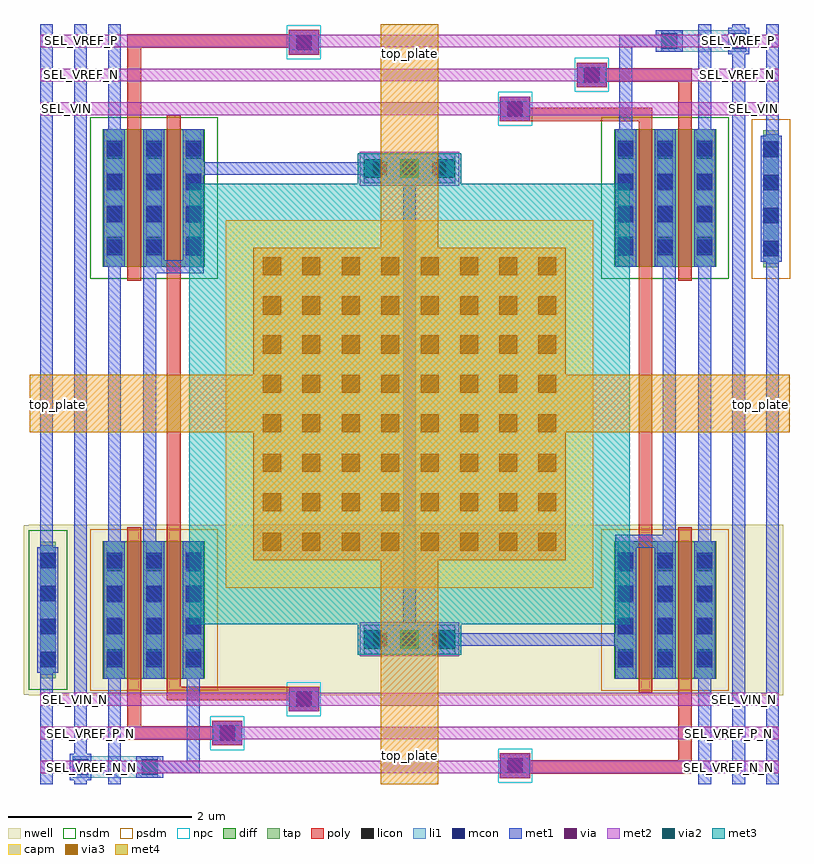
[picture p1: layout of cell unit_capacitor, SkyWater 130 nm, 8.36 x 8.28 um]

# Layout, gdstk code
from math import pi, radians
import gdstk
lib = gdstk.Library(unit=1e-6, precision=1e-09)
def R(c, l, rs):  # rectangles x0, y0, x1, y1
    for r in rs: c.add(gdstk.rectangle(r[:2], r[2:], *l))
def A(c, l, x, y, w, h, nx, ny, dx, dy):  # array of equal rectangles
    R(c, l, [(x+i*dx, y+j*dy, x+i*dx+w, y+j*dy+h) for i in range(nx) for j in range(ny)])
nwell = (64, 20)
diff = (65, 20)
tap = (65, 44)
poly = (66, 20)
licon = (66, 44)
li1 = (67, 20)
mcon = (67, 44)
met1 = (68, 20)
via = (68, 44)
met2 = (69, 20)
via2 = (69, 44)
met3 = (70, 20)
via3 = (70, 44)
met4 = (71, 20)
capm = (89, 44)
nsdm = (93, 44)
psdm = (94, 20)
npc = (95, 20)

cap_mim_m3__base_cdns_78 = lib.new_cell('cap_mim_m3__base_CDNS_784651134383')
R(cap_mim_m3__base_cdns_78, met3, [(-0.4,-0.4,4.4,4.4)])
A(cap_mim_m3__base_cdns_78, via3, 0.4, 0.4, 0.2, 0.2, 6, 6, 0.43, 0.43)
A(cap_mim_m3__base_cdns_78, via3, 2.975, 0.4, 0.2, 0.2, 1, 6, 0, 0.43)
A(cap_mim_m3__base_cdns_78, via3, 3.4, 0.4, 0.2, 0.2, 1, 6, 0, 0.43)
A(cap_mim_m3__base_cdns_78, via3, 0.4, 2.975, 0.2, 0.2, 6, 2, 0.43, 0.425)
R(cap_mim_m3__base_cdns_78, via3, [(2.975,2.975,3.175,3.175), (3.4,2.975,3.6,3.175), (2.975,3.4,3.175,3.6), (3.4,3.4,3.6,3.6)])
R(cap_mim_m3__base_cdns_78, met4, [(0.3,0.3,3.7,3.7)])
R(cap_mim_m3__base_cdns_78, capm, [(0,0,4,4)])

pfet_01v8_cdns_784651134 = lib.new_cell('pfet_01v8_CDNS_784651134384')
R(pfet_01v8_cdns_784651134, nwell, [(-0.445,-0.18,0.385,1.68)])
R(pfet_01v8_cdns_784651134, diff, [(-0.265,0,0,1.5), (0,0,0.15,1.5), (0.15,0,0.205,1.5)])
R(pfet_01v8_cdns_784651134, poly, [(0,-0.15,0.15,-0.095), (0,-0.095,0.15,0), (0,0,0.15,1.5), (0,1.5,0.15,1.595), (0,1.595,0.15,1.65)])
A(pfet_01v8_cdns_784651134, licon, -0.225, 0.155, 0.17, 0.17, 1, 4, 0, 0.34)
R(pfet_01v8_cdns_784651134, li1, [(-0.225,0,-0.055,1.5)])
A(pfet_01v8_cdns_784651134, mcon, -0.225, 0.125, 0.17, 0.17, 1, 4, 0, 0.36)
R(pfet_01v8_cdns_784651134, met1, [(-0.255,0,-0.025,1.5)])
R(pfet_01v8_cdns_784651134, psdm, [(-0.405,-0.13,0.215,1.63)])

nfet_01v8_cdns_784651134 = lib.new_cell('nfet_01v8_CDNS_784651134385')
R(nfet_01v8_cdns_784651134, diff, [(-0.055,0,0,1.5), (0,0,0.15,1.5), (0.15,0,0.415,1.5)])
R(nfet_01v8_cdns_784651134, poly, [(0,-0.15,0.15,-0.095), (0,-0.095,0.15,0), (0,0,0.15,1.5), (0,1.5,0.15,1.595), (0,1.595,0.15,1.65)])
A(nfet_01v8_cdns_784651134, licon, 0.205, 0.155, 0.17, 0.17, 1, 4, 0, 0.34)
R(nfet_01v8_cdns_784651134, li1, [(0.205,0,0.375,1.5)])
A(nfet_01v8_cdns_784651134, mcon, 0.205, 0.125, 0.17, 0.17, 1, 4, 0, 0.36)
R(nfet_01v8_cdns_784651134, met1, [(0.175,0,0.405,1.5)])
R(nfet_01v8_cdns_784651134, nsdm, [(-0.065,-0.13,0.555,1.63)])

c_pfet_01v8_cdns_784651134 = lib.new_cell('pfet_01v8_CDNS_784651134386')
R(c_pfet_01v8_cdns_784651134, nwell, [(-0.405,-0.18,0.595,1.68)])
R(c_pfet_01v8_cdns_784651134, diff, [(-0.225,0,0,1.5), (0,0,0.15,1.5), (0.15,0,0.415,1.5)])
R(c_pfet_01v8_cdns_784651134, poly, [(0,-0.15,0.15,-0.095), (0,-0.095,0.15,0), (0,0,0.15,1.5), (0,1.5,0.15,1.595), (0,1.595,0.15,1.65)])
A(c_pfet_01v8_cdns_784651134, licon, -0.225, 0.155, 0.17, 0.17, 1, 4, 0, 0.34)
A(c_pfet_01v8_cdns_784651134, licon, 0.205, 0.155, 0.17, 0.17, 1, 4, 0, 0.34)
R(c_pfet_01v8_cdns_784651134, li1, [(-0.225,0,-0.055,1.5), (0.205,0,0.375,1.5)])
A(c_pfet_01v8_cdns_784651134, mcon, -0.225, 0.125, 0.17, 0.17, 1, 4, 0, 0.36)
A(c_pfet_01v8_cdns_784651134, mcon, 0.205, 0.125, 0.17, 0.17, 1, 4, 0, 0.36)
R(c_pfet_01v8_cdns_784651134, met1, [(-0.255,0,-0.025,1.5), (0.175,0,0.405,1.5)])
R(c_pfet_01v8_cdns_784651134, psdm, [(-0.235,-0.13,0.555,1.63)])

c_nfet_01v8_cdns_784651134 = lib.new_cell('nfet_01v8_CDNS_784651134387')
R(c_nfet_01v8_cdns_784651134, diff, [(-0.265,0,0,1.5), (0,0,0.15,1.5), (0.15,0,0.375,1.5)])
R(c_nfet_01v8_cdns_784651134, poly, [(0,-0.15,0.15,-0.095), (0,-0.095,0.15,0), (0,0,0.15,1.5), (0,1.5,0.15,1.595), (0,1.595,0.15,1.65)])
A(c_nfet_01v8_cdns_784651134, licon, -0.225, 0.155, 0.17, 0.17, 1, 4, 0, 0.34)
A(c_nfet_01v8_cdns_784651134, licon, 0.205, 0.155, 0.17, 0.17, 1, 4, 0, 0.34)
R(c_nfet_01v8_cdns_784651134, li1, [(-0.225,0,-0.055,1.5), (0.205,0,0.375,1.5)])
A(c_nfet_01v8_cdns_784651134, mcon, -0.225, 0.125, 0.17, 0.17, 1, 4, 0, 0.36)
A(c_nfet_01v8_cdns_784651134, mcon, 0.205, 0.125, 0.17, 0.17, 1, 4, 0, 0.36)
R(c_nfet_01v8_cdns_784651134, met1, [(-0.255,0,-0.025,1.5), (0.175,0,0.405,1.5)])
R(c_nfet_01v8_cdns_784651134, nsdm, [(-0.405,-0.13,0.385,1.63)])

polyconn_cdns_7846511343 = lib.new_cell('polyConn_CDNS_784651134380')
R(polyconn_cdns_7846511343, poly, [(-0.135,-0.165,0.135,0.165)])
R(polyconn_cdns_7846511343, licon, [(-0.085,-0.085,0.085,0.085)])
R(polyconn_cdns_7846511343, li1, [(-0.085,-0.165,0.085,0.165)])
R(polyconn_cdns_7846511343, mcon, [(-0.085,-0.085,0.085,0.085)])
R(polyconn_cdns_7846511343, met1, [(-0.13,-0.16,0.13,0.16)])
R(polyconn_cdns_7846511343, npc, [(-0.185,-0.185,0.185,0.185)])

m1m2_c_cdns_784651134388 = lib.new_cell('M1M2_C_CDNS_784651134388')
R(m1m2_c_cdns_784651134388, met1, [(-0.13,-0.16,0.13,0.16)])
R(m1m2_c_cdns_784651134388, via, [(-0.075,-0.075,0.075,0.075)])
R(m1m2_c_cdns_784651134388, met2, [(-0.13,-0.16,0.13,0.16)])

l1m1_c_cdns_784651134389 = lib.new_cell('L1M1_C_CDNS_784651134389')
R(l1m1_c_cdns_784651134389, li1, [(-0.085,-0.115,0.085,0.115)])
R(l1m1_c_cdns_784651134389, mcon, [(-0.085,-0.085,0.085,0.085)])
R(l1m1_c_cdns_784651134389, met1, [(-0.115,-0.145,0.115,0.145)])

l1m1_c_cdns_784651134381 = lib.new_cell('L1M1_C_CDNS_7846511343810')
R(l1m1_c_cdns_784651134381, li1, [(-0.085,-0.115,0.085,0.115)])
R(l1m1_c_cdns_784651134381, mcon, [(-0.085,-0.085,0.085,0.085)])
R(l1m1_c_cdns_784651134381, met1, [(-0.145,-0.115,0.145,0.115)])

nwelltap_cdns_7846511343 = lib.new_cell('nwellTap_CDNS_784651134381')
R(nwelltap_cdns_7846511343, nwell, [(-0.265,-0.925,0.265,0.925)])
R(nwelltap_cdns_7846511343, tap, [(-0.085,-0.745,0.085,0.745)])
A(nwelltap_cdns_7846511343, licon, -0.085, -0.625, 0.17, 0.17, 1, 4, 0, 0.36)
R(nwelltap_cdns_7846511343, li1, [(-0.085,-0.705,0.085,0.705)])
A(nwelltap_cdns_7846511343, mcon, -0.085, -0.625, 0.17, 0.17, 1, 4, 0, 0.36)
R(nwelltap_cdns_7846511343, met1, [(-0.115,-0.685,0.115,0.685)])
R(nwelltap_cdns_7846511343, nsdm, [(-0.21,-0.87,0.21,0.87)])

subtap_cdns_784651134382 = lib.new_cell('subTap_CDNS_784651134382')
R(subtap_cdns_784651134382, tap, [(-0.085,-0.745,0.085,0.745)])
A(subtap_cdns_784651134382, licon, -0.085, -0.625, 0.17, 0.17, 1, 4, 0, 0.36)
R(subtap_cdns_784651134382, li1, [(-0.085,-0.705,0.085,0.705)])
A(subtap_cdns_784651134382, mcon, -0.085, -0.625, 0.17, 0.17, 1, 4, 0, 0.36)
R(subtap_cdns_784651134382, met1, [(-0.115,-0.685,0.115,0.685)])
R(subtap_cdns_784651134382, psdm, [(-0.21,-0.87,0.21,0.87)])

m2m3_c_cdns_784651134381 = lib.new_cell('M2M3_C_CDNS_7846511343811')
R(m2m3_c_cdns_784651134381, met2, [(-0.54,-0.185,0.54,0.185)])
A(m2m3_c_cdns_784651134381, via2, -0.5, -0.1, 0.2, 0.2, 3, 1, 0.4, 0)
R(m2m3_c_cdns_784651134381, met3, [(-0.565,-0.165,0.565,0.165)])

m1m2_c_cdns_784651134381 = lib.new_cell('M1M2_C_CDNS_7846511343812')
R(m1m2_c_cdns_784651134381, met1, [(-0.5,-0.16,0.5,0.16)])
A(m1m2_c_cdns_784651134381, via, -0.395, -0.075, 0.15, 0.15, 3, 1, 0.32, 0)
R(m1m2_c_cdns_784651134381, met2, [(-0.54,-0.185,0.54,0.185)])

unit_capacitor = lib.new_cell('unit_capacitor')
R(unit_capacitor, nwell, [(-0.01,0.965,8.21,2.825)])
A(unit_capacitor, met1, 0.115, 0, 0.14, 0.14, 3, 2, 0.37, 8.14)
A(unit_capacitor, met1, 7.285, 0, 0.14, 0.14, 3, 2, 0.37, 8.14)
A(unit_capacitor, met2, 0.115, 0.115, 0.14, 0.14, 1, 3, 0, 0.37)
A(unit_capacitor, met2, 8.025, 0.115, 0.14, 0.14, 1, 3, 0, 0.37)
A(unit_capacitor, met2, 0.115, 7.285, 0.14, 0.14, 1, 3, 0, 0.37)
A(unit_capacitor, met2, 8.025, 7.285, 0.14, 0.14, 1, 3, 0, 0.37)
R(unit_capacitor, met4, [(3.825,0,4.455,0.63), (0,3.83,0.63,4.46), (7.65,3.83,8.28,4.46), (3.825,7.65,4.455,8.28)])
unit_capacitor.add(gdstk.FlexPath([(0.54,4.145),(2.44,4.145)], 0.63, ends="flush", simple_path=True, layer=71, datatype=20))  # met4
unit_capacitor.add(gdstk.FlexPath([(4.14,0.63),(4.14,2.44)], 0.63, ends="flush", simple_path=True, layer=71, datatype=20))  # met4
unit_capacitor.add(gdstk.FlexPath([(7.65,4.145),(5.84,4.145)], 0.63, ends="flush", simple_path=True, layer=71, datatype=20))  # met4
unit_capacitor.add(gdstk.FlexPath([(4.14,7.65),(4.14,5.84)], 0.63, ends="flush", simple_path=True, layer=71, datatype=20))  # met4
unit_capacitor.add(gdstk.FlexPath([(6.97,8.095),(7.725,8.095)], 0.23, ends="flush", simple_path=True, layer=67, datatype=20))  # li1
unit_capacitor.add(gdstk.FlexPath([(0.555,0.185),(1.31,0.185)], 0.23, ends="flush", simple_path=True, layer=67, datatype=20))  # li1
unit_capacitor.add(gdstk.FlexPath([(5.29,0.185),(5.29,0.2)], 0.15, ends=(0.075, 0), simple_path=True, layer=66, datatype=20))  # poly
unit_capacitor.add(gdstk.FlexPath([(7.14,0.185),(5.29,0.185)], 0.15, ends="extended", simple_path=True, layer=66, datatype=20))  # poly
unit_capacitor.add(gdstk.FlexPath([(2.99,8.095),(2.99,8.08)], 0.15, ends=(0.075, 0), simple_path=True, layer=66, datatype=20))  # poly
unit_capacitor.add(gdstk.FlexPath([(1.14,8.095),(2.99,8.095)], 0.15, ends="extended", simple_path=True, layer=66, datatype=20))  # poly
unit_capacitor.add(gdstk.FlexPath([(6.71,5.485),(6.71,2.795)], 0.15, ends="flush", simple_path=True, layer=66, datatype=20))  # poly
unit_capacitor.add(gdstk.FlexPath([(1.57,0.985),(2.99,0.985)], 0.15, ends=(0.075, 0.165), simple_path=True, layer=66, datatype=20))  # poly
unit_capacitor.add(gdstk.FlexPath([(6.71,7.305),(6.71,7.295)], 0.15, ends=(0, 0.075), simple_path=True, layer=66, datatype=20))  # poly
unit_capacitor.add(gdstk.FlexPath([(6.125,7.725),(7.14,7.725)], 0.15, ends=(0, 0.075), simple_path=True, layer=66, datatype=20))  # poly
unit_capacitor.add(gdstk.FlexPath([(1.14,0.995),(1.14,0.555)], 0.15, ends=(0, 0.075), simple_path=True, layer=66, datatype=20))  # poly
unit_capacitor.add(gdstk.FlexPath([(1.14,7.285),(1.14,8.095)], 0.15, ends=(0, 0.075), simple_path=True, layer=66, datatype=20))  # poly
unit_capacitor.add(gdstk.FlexPath([(6.71,7.295),(5.29,7.295)], 0.15, ends=(0.075, 0.165), simple_path=True, layer=66, datatype=20))  # poly
unit_capacitor.add(gdstk.FlexPath([(1.57,0.975),(1.57,0.985)], 0.15, ends=(0, 0.075), simple_path=True, layer=66, datatype=20))  # poly
unit_capacitor.add(gdstk.FlexPath([(5.29,7.295),(5.29,7.355)], 0.33, ends=(0.075, 0), simple_path=True, layer=66, datatype=20))  # poly
unit_capacitor.add(gdstk.FlexPath([(2.99,0.985),(2.99,0.925)], 0.33, ends=(0.075, 0), simple_path=True, layer=66, datatype=20))  # poly
unit_capacitor.add(gdstk.FlexPath([(7.14,7.725),(7.14,7.285)], 0.15, ends=(0.075, 0), simple_path=True, layer=66, datatype=20))  # poly
unit_capacitor.add(gdstk.FlexPath([(1.57,5.485),(1.57,2.795)], 0.15, ends="flush", simple_path=True, layer=66, datatype=20))  # poly
unit_capacitor.add(gdstk.FlexPath([(7.14,0.995),(7.14,0.185)], 0.15, ends=(0, 0.075), simple_path=True, layer=66, datatype=20))  # poly
unit_capacitor.add(gdstk.FlexPath([(1.14,0.555),(2.155,0.555)], 0.15, ends=(0.075, 0), simple_path=True, layer=66, datatype=20))  # poly
unit_capacitor.add(gdstk.FlexPath([(1.67,6.705),(4.145,6.705)], 0.14, ends="flush", simple_path=True, layer=68, datatype=20))  # met1
unit_capacitor.add(gdstk.FlexPath([(1.24,5.635),(1.83,5.635)], 0.14, ends=(0, 0.07), simple_path=True, layer=68, datatype=20))  # met1
unit_capacitor.add(gdstk.FlexPath([(0.555,8.14),(0.555,0.21)], 0.14, ends="flush", simple_path=True, layer=68, datatype=20))  # met1
unit_capacitor.add(gdstk.FlexPath([(4.14,1.575),(4.14,6.705)], 0.14, ends="extended", simple_path=True, layer=68, datatype=20))  # met1
unit_capacitor.add(gdstk.FlexPath([(6.495,6.085),(6.495,8.095)], 0.14, ends=(0, 0.07), simple_path=True, layer=68, datatype=20))  # met1
unit_capacitor.add(gdstk.FlexPath([(1.785,0.185),(1.785,2.195)], 0.14, ends=(0.07, 0), simple_path=True, layer=68, datatype=20))  # met1
unit_capacitor.add(gdstk.FlexPath([(6.495,8.095),(6.97,8.095)], 0.14, ends=(0.07, 0), simple_path=True, layer=68, datatype=20))  # met1
unit_capacitor.add(gdstk.FlexPath([(6.61,1.575),(4.14,1.575)], 0.14, ends=(0, 0.07), simple_path=True, layer=68, datatype=20))  # met1
unit_capacitor.add(gdstk.FlexPath([(7.725,8.07),(7.725,0.07)], 0.14, ends="flush", simple_path=True, layer=68, datatype=20))  # met1
unit_capacitor.add(gdstk.FlexPath([(7.04,2.645),(6.38,2.645)], 0.14, ends="flush", simple_path=True, layer=68, datatype=20))  # met1
unit_capacitor.add(gdstk.FlexPath([(1.31,2.645),(1.31,5.565)], 0.14, ends="flush", simple_path=True, layer=68, datatype=20))  # met1
unit_capacitor.add(gdstk.FlexPath([(1.31,0.185),(1.785,0.185)], 0.14, ends=(0, 0.07), simple_path=True, layer=68, datatype=20))  # met1
unit_capacitor.add(gdstk.FlexPath([(0.185,8.21),(0.185,0.07)], 0.14, ends="flush", simple_path=True, layer=68, datatype=20))  # met1
unit_capacitor.add(gdstk.FlexPath([(6.97,5.635),(6.97,2.715)], 0.14, ends="flush", simple_path=True, layer=68, datatype=20))  # met1
unit_capacitor.add(gdstk.FlexPath([(0.925,8.21),(0.925,0.07)], 0.14, ends="flush", simple_path=True, layer=68, datatype=20))  # met1
unit_capacitor.add(gdstk.FlexPath([(8.095,8.21),(8.095,0.07)], 0.14, ends="flush", simple_path=True, layer=68, datatype=20))  # met1
unit_capacitor.add(gdstk.FlexPath([(7.355,8.21),(7.355,0.07)], 0.14, ends="flush", simple_path=True, layer=68, datatype=20))  # met1
unit_capacitor.add(gdstk.FlexPath([(0.255,7.725),(8.025,7.725)], 0.14, ends="flush", simple_path=True, layer=69, datatype=20))  # met2
unit_capacitor.add(gdstk.FlexPath([(0.255,8.095),(8.025,8.095)], 0.14, ends="flush", simple_path=True, layer=69, datatype=20))  # met2
unit_capacitor.add(gdstk.FlexPath([(0.255,7.355),(8.025,7.355)], 0.14, ends="flush", simple_path=True, layer=69, datatype=20))  # met2
unit_capacitor.add(gdstk.FlexPath([(0.255,0.185),(8.025,0.185)], 0.14, ends="flush", simple_path=True, layer=69, datatype=20))  # met2
unit_capacitor.add(gdstk.FlexPath([(0.255,0.555),(8.025,0.555)], 0.14, ends="flush", simple_path=True, layer=69, datatype=20))  # met2
unit_capacitor.add(gdstk.FlexPath([(0.255,0.925),(8.025,0.925)], 0.14, ends="flush", simple_path=True, layer=69, datatype=20))  # met2
unit_capacitor.add(gdstk.Reference(cap_mim_m3__base_cdns_78, (2.14,2.14)))
unit_capacitor.add(gdstk.Reference(pfet_01v8_cdns_784651134, (6.635,1.145)))
unit_capacitor.add(gdstk.Reference(pfet_01v8_cdns_784651134, (1.645,1.145), rotation=pi, x_reflection=True))
unit_capacitor.add(gdstk.Reference(nfet_01v8_cdns_784651134, (1.495,5.635)))
unit_capacitor.add(gdstk.Reference(nfet_01v8_cdns_784651134, (6.785,5.635), rotation=pi, x_reflection=True))
unit_capacitor.add(gdstk.Reference(c_pfet_01v8_cdns_784651134, (1.215,1.145), rotation=pi, x_reflection=True))
unit_capacitor.add(gdstk.Reference(c_pfet_01v8_cdns_784651134, (7.065,1.145)))
unit_capacitor.add(gdstk.Reference(c_nfet_01v8_cdns_784651134, (1.065,5.635)))
unit_capacitor.add(gdstk.Reference(c_nfet_01v8_cdns_784651134, (7.215,5.635), rotation=pi, x_reflection=True))
unit_capacitor.add(gdstk.Reference(polyconn_cdns_7846511343, (6.125,7.725), rotation=pi/2))
unit_capacitor.add(gdstk.Reference(polyconn_cdns_7846511343, (2.99,0.925), rotation=pi/2))
unit_capacitor.add(gdstk.Reference(polyconn_cdns_7846511343, (5.29,7.355), rotation=pi/2))
unit_capacitor.add(gdstk.Reference(polyconn_cdns_7846511343, (5.29,0.2), rotation=pi/2))
unit_capacitor.add(gdstk.Reference(polyconn_cdns_7846511343, (2.99,8.08), rotation=pi/2))
unit_capacitor.add(gdstk.Reference(polyconn_cdns_7846511343, (2.155,0.555), rotation=pi/2))
unit_capacitor.add(gdstk.Reference(m1m2_c_cdns_784651134388, (6.125,7.725), rotation=pi/2))
unit_capacitor.add(gdstk.Reference(m1m2_c_cdns_784651134388, (2.99,0.925), rotation=pi/2))
unit_capacitor.add(gdstk.Reference(m1m2_c_cdns_784651134388, (5.29,7.355), rotation=pi/2))
unit_capacitor.add(gdstk.Reference(m1m2_c_cdns_784651134388, (5.29,0.2), rotation=pi/2))
unit_capacitor.add(gdstk.Reference(m1m2_c_cdns_784651134388, (2.99,8.08), rotation=pi/2))
unit_capacitor.add(gdstk.Reference(m1m2_c_cdns_784651134388, (2.155,0.555), rotation=pi/2))
unit_capacitor.add(gdstk.Reference(l1m1_c_cdns_784651134389, (7.725,8.095)))
unit_capacitor.add(gdstk.Reference(l1m1_c_cdns_784651134389, (0.555,0.185)))
unit_capacitor.add(gdstk.Reference(l1m1_c_cdns_784651134381, (6.97,8.095)))
unit_capacitor.add(gdstk.Reference(l1m1_c_cdns_784651134381, (1.31,0.185)))
unit_capacitor.add(gdstk.Reference(nwelltap_cdns_7846511343, (0.2,1.895)))
unit_capacitor.add(gdstk.Reference(subtap_cdns_784651134382, (8.08,6.375)))
unit_capacitor.add(gdstk.Reference(m2m3_c_cdns_784651134381, (4.14,1.575)))
unit_capacitor.add(gdstk.Reference(m2m3_c_cdns_784651134381, (4.14,6.705)))
unit_capacitor.add(gdstk.Reference(m1m2_c_cdns_784651134381, (4.14,1.575)))
unit_capacitor.add(gdstk.Reference(m1m2_c_cdns_784651134381, (4.14,6.705)))
unit_capacitor.add(gdstk.Label('SEL_VREF_N', (7.715,7.725), layer=69, texttype=5))
unit_capacitor.add(gdstk.Label('SEL_VIN', (7.885,7.355), layer=69, texttype=5))
unit_capacitor.add(gdstk.Label('SEL_VREF_P', (7.72,8.095), layer=69, texttype=5))
unit_capacitor.add(gdstk.Label('SEL_VREF_N_N', (7.61,0.185), layer=69, texttype=5))
unit_capacitor.add(gdstk.Label('SEL_VIN_N', (7.785,0.925), layer=69, texttype=5))
unit_capacitor.add(gdstk.Label('SEL_VREF_P_N', (7.62,0.555), layer=69, texttype=5))
unit_capacitor.add(gdstk.Label('SEL_VREF_N_N', (0.675,0.185), layer=69, texttype=5))
unit_capacitor.add(gdstk.Label('SEL_VIN_N', (0.505,0.925), layer=69, texttype=5))
unit_capacitor.add(gdstk.Label('SEL_VREF_P_N', (0.665,0.555), layer=69, texttype=5))
unit_capacitor.add(gdstk.Label('SEL_VREF_N', (0.565,7.725), layer=69, texttype=5))
unit_capacitor.add(gdstk.Label('SEL_VIN', (0.4,7.355), layer=69, texttype=5))
unit_capacitor.add(gdstk.Label('SEL_VREF_P', (0.565,8.095), layer=69, texttype=5))
unit_capacitor.add(gdstk.Label('VREF_P', (0.925,0.07), layer=68, texttype=5))
unit_capacitor.add(gdstk.Label('VIN', (0.555,0.07), layer=68, texttype=5))
unit_capacitor.add(gdstk.Label('VDD', (0.185,0.07), layer=68, texttype=5))
unit_capacitor.add(gdstk.Label('VSS', (8.095,0.07), layer=68, texttype=5))
unit_capacitor.add(gdstk.Label('VIN', (7.725,0.07), layer=68, texttype=5))
unit_capacitor.add(gdstk.Label('VREF_N', (7.355,0.07), layer=68, texttype=5))
unit_capacitor.add(gdstk.Label('VSS', (8.095,8.21), layer=68, texttype=5))
unit_capacitor.add(gdstk.Label('VIN', (7.725,8.21), layer=68, texttype=5))
unit_capacitor.add(gdstk.Label('VREF_N', (7.355,8.21), layer=68, texttype=5))
unit_capacitor.add(gdstk.Label('VREF_P', (0.925,8.21), layer=68, texttype=5))
unit_capacitor.add(gdstk.Label('VIN', (0.555,8.21), layer=68, texttype=5))
unit_capacitor.add(gdstk.Label('VDD', (0.185,8.21), layer=68, texttype=5))
unit_capacitor.add(gdstk.Label('top_plate', (0.31,4.14), layer=71, texttype=5))
unit_capacitor.add(gdstk.Label('top_plate', (7.96,4.14), layer=71, texttype=5))
unit_capacitor.add(gdstk.Label('top_plate', (4.135,0.31), layer=71, texttype=5))
unit_capacitor.add(gdstk.Label('top_plate', (4.135,7.96), layer=71, texttype=5))

lib.write_gds('unit_capacitor.gds')
